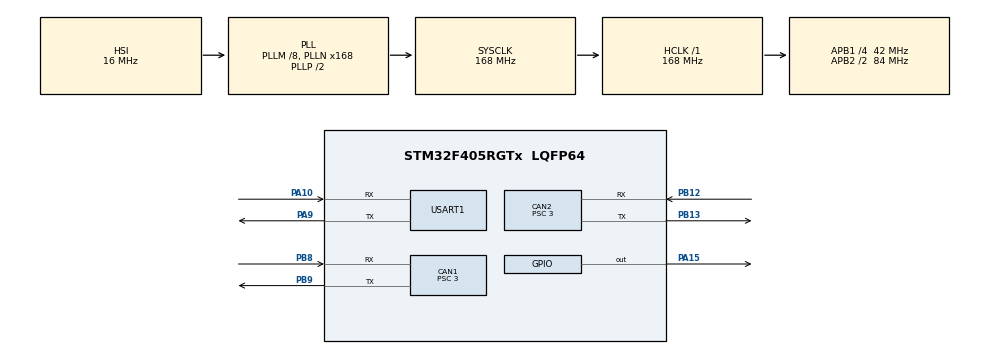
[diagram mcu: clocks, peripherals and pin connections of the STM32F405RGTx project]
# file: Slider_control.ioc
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CAN1.BS1=CAN_BS1_9TQ
CAN1.BS2=CAN_BS2_4TQ
CAN1.CalculateBaudRate=1000000
CAN1.CalculateTimeBit=1000
CAN1.CalculateTimeQuantum=71.42857142857143
CAN1.Prescaler=3
CAN2.BS1=CAN_BS1_9TQ
CAN2.BS2=CAN_BS2_4TQ
CAN2.CalculateBaudRate=1000000
CAN2.CalculateTimeBit=1000
CAN2.CalculateTimeQuantum=71.42857142857143
CAN2.Prescaler=3
Dma.Request0=USART1_RX
Dma.Request1=USART1_TX
Dma.USART1_RX.0.Direction=DMA_PERIPH_TO_MEMORY
Dma.USART1_RX.0.FIFOMode=DMA_FIFOMODE_DISABLE
Dma.USART1_RX.0.Instance=DMA2_Stream2
Dma.USART1_RX.0.MemDataAlignment=DMA_MDATAALIGN_BYTE
Dma.USART1_RX.0.MemInc=DMA_MINC_ENABLE
Dma.USART1_RX.0.Mode=DMA_NORMAL
Dma.USART1_RX.0.PeriphDataAlignment=DMA_PDATAALIGN_BYTE
Dma.USART1_RX.0.PeriphInc=DMA_PINC_DISABLE
Dma.USART1_RX.0.Priority=DMA_PRIORITY_MEDIUM
Dma.USART1_TX.1.Direction=DMA_MEMORY_TO_PERIPH
Dma.USART1_TX.1.FIFOMode=DMA_FIFOMODE_DISABLE
Dma.USART1_TX.1.Instance=DMA2_Stream7
Dma.USART1_TX.1.MemDataAlignment=DMA_MDATAALIGN_BYTE
Dma.USART1_TX.1.MemInc=DMA_MINC_ENABLE
Dma.USART1_TX.1.Mode=DMA_NORMAL
Dma.USART1_TX.1.PeriphDataAlignment=DMA_PDATAALIGN_BYTE
Dma.USART1_TX.1.PeriphInc=DMA_PINC_DISABLE
Dma.USART1_TX.1.Priority=DMA_PRIORITY_MEDIUM
FREERTOS.Tasks01=calc,1,128,slider_alc,Default,NULL,Dynamic,NULL,NULL;can_common,0,128,Can_common,Default,NULL,Dynamic,NULL,NULL
IWDG.Prescaler=IWDG_PRESCALER_32
IWDG.Reload=4000
Mcu.Family=STM32F4
Mcu.Name=STM32F405RGTx
Mcu.Package=LQFP64
NVIC.CAN1_RX0_IRQn=true\:5\:0\:false\:false\:true\:true\:true\:true\:true
NVIC.CAN1_RX1_IRQn=true\:5\:0\:false\:false\:true\:true\:true\:true\:true
NVIC.CAN1_SCE_IRQn=true\:5\:0\:false\:false\:true\:true\:true\:true\:true
NVIC.CAN1_TX_IRQn=true\:5\:0\:false\:false\:true\:true\:true\:true\:true
NVIC.CAN2_RX0_IRQn=true\:5\:0\:false\:false\:true\:true\:true\:true\:true
NVIC.CAN2_RX1_IRQn=true\:5\:0\:false\:false\:true\:true\:true\:true\:true
NVIC.CAN2_SCE_IRQn=true\:5\:0\:false\:false\:true\:true\:true\:true\:true
NVIC.CAN2_TX_IRQn=true\:5\:0\:false\:false\:true\:true\:true\:true\:true
NVIC.DMA2_Stream2_IRQn=true\:5\:0\:false\:false\:true\:true\:false\:true\:true
NVIC.DMA2_Stream7_IRQn=true\:5\:0\:false\:false\:true\:true\:false\:true\:true
NVIC.PriorityGroup=NVIC_PRIORITYGROUP_4
NVIC.TIM1_UP_TIM10_IRQn=true\:15\:0\:false\:false\:true\:false\:false\:true\:true
NVIC.TimeBase=TIM1_UP_TIM10_IRQn
NVIC.TimeBaseIP=TIM1
NVIC.USART1_IRQn=true\:5\:0\:false\:false\:true\:true\:true\:true\:true
PA10.Mode=Asynchronous
PA10.Signal=USART1_RX
PA13.Mode=Serial_Wire
PA13.Signal=SYS_JTMS-SWDIO
PA14.Mode=Serial_Wire
PA14.Signal=SYS_JTCK-SWCLK
PA15.Signal=GPIO_Output
PA9.Mode=Asynchronous
PA9.Signal=USART1_TX
PB12.Mode=CAN_Activate
PB12.Signal=CAN2_RX
PB13.Mode=CAN_Activate
PB13.Signal=CAN2_TX
PB8.Mode=CAN_Activate
PB8.Signal=CAN1_RX
PB9.Mode=CAN_Activate
PB9.Signal=CAN1_TX
PH0-OSC_IN.Mode=HSE-External-Oscillator
PH0-OSC_IN.Signal=RCC_OSC_IN
PH1-OSC_OUT.Mode=HSE-External-Oscillator
PH1-OSC_OUT.Signal=RCC_OSC_OUT
ProjectManager.HeapSize=0x200
ProjectManager.StackSize=0x400
ProjectManager.TargetToolchain=MDK-ARM V5.32
RCC.48MHZClocksFreq_Value=84000000
RCC.AHBFreq_Value=168000000
RCC.APB1CLKDivider=RCC_HCLK_DIV4
RCC.APB1Freq_Value=42000000
RCC.APB1TimFreq_Value=84000000
RCC.APB2CLKDivider=RCC_HCLK_DIV2
RCC.APB2Freq_Value=84000000
RCC.APB2TimFreq_Value=168000000
RCC.CortexFreq_Value=168000000
RCC.HCLKFreq_Value=168000000
RCC.HSE_VALUE=16000000
RCC.HSI_VALUE=16000000
RCC.LSE_VALUE=32768
RCC.PLLM=8
RCC.PLLN=168
RCC.SYSCLKFreq_VALUE=168000000
RCC.SYSCLKSource=RCC_SYSCLKSOURCE_PLLCLK
RCC.VCOOutputFreq_Value=336000000
USART1.VirtualMode=VM_ASYNC
VP_FREERTOS_VS_CMSIS_V1.Mode=CMSIS_V1
VP_IWDG_VS_IWDG.Mode=IWDG_Activate
VP_SYS_VS_tim1.Mode=TIM1
board=custom

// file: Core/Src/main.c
/* USER CODE BEGIN Header */
/**
  ******************************************************************************
  * @file           : main.c
  * @brief          : Main program body
  ******************************************************************************
  * @attention
  *
  * <h2><center>&copy; Copyright (c) 2023 STMicroelectronics.
  * All rights reserved.</center></h2>
  *
  * This software component is licensed by ST under BSD 3-Clause license,
  * the "License"; You may not use this file except in compliance with the
  * License. You may obtain a copy of the License at:
  *                        opensource.org/licenses/BSD-3-Clause
  *
  ******************************************************************************
  */
/* USER CODE END Header */
#include "main.h"
#include "cmsis_os.h"
#include "can.h"
#include "dma.h"
#include "iwdg.h"
#include "usart.h"
#include "gpio.h"

/* USER CODE BEGIN Includes */
#include "can_comm.h"
/* USER CODE END Includes */

void SystemClock_Config(void);
void MX_FREERTOS_Init(void);

int main(void)
{

  /* MCU Configuration--------------------------------------------------------*/

  /* Reset of all peripherals, Initializes the Flash interface and the Systick. */
  HAL_Init();

  /* Configure the system clock */
  SystemClock_Config();

  /* Initialize all configured peripherals */
  MX_GPIO_Init();
  MX_DMA_Init();
  MX_CAN1_Init();
  MX_CAN2_Init();
  MX_USART1_UART_Init();
  MX_IWDG_Init();
  /* USER CODE BEGIN 2 */
	can_device_init();
	Fric_init();
  /* USER CODE END 2 */

  /* Call init function for freertos objects (in freertos.c) */
  MX_FREERTOS_Init();

  /* Start scheduler */
  osKernelStart();

  /* We should never get here as control is now taken by the scheduler */
  /* Infinite loop */
  while (1)
  {

  }
}

void SystemClock_Config(void)
{
  RCC_OscInitTypeDef RCC_OscInitStruct = {0};
  RCC_ClkInitTypeDef RCC_ClkInitStruct = {0};

  /** Configure the main internal regulator output voltage
  */
  __HAL_RCC_PWR_CLK_ENABLE();
  __HAL_PWR_VOLTAGESCALING_CONFIG(PWR_REGULATOR_VOLTAGE_SCALE1);

  /** Initializes the RCC Oscillators according to the specified parameters
  * in the RCC_OscInitTypeDef structure.
  */
  RCC_OscInitStruct.OscillatorType = RCC_OSCILLATORTYPE_HSI|RCC_OSCILLATORTYPE_LSI;
  RCC_OscInitStruct.HSIState = RCC_HSI_ON;
  RCC_OscInitStruct.HSICalibrationValue = RCC_HSICALIBRATION_DEFAULT;
  RCC_OscInitStruct.LSIState = RCC_LSI_ON;
  RCC_OscInitStruct.PLL.PLLState = RCC_PLL_ON;
  RCC_OscInitStruct.PLL.PLLSource = RCC_PLLSOURCE_HSI;
  RCC_OscInitStruct.PLL.PLLM = 8;
  RCC_OscInitStruct.PLL.PLLN = 168;
  RCC_OscInitStruct.PLL.PLLP = RCC_PLLP_DIV2;
  RCC_OscInitStruct.PLL.PLLQ = 4;
  if (HAL_RCC_OscConfig(&RCC_OscInitStruct) != HAL_OK)
  {
    Error_Handler();
  }

  /** Initializes the CPU, AHB and APB buses clocks
  */
  RCC_ClkInitStruct.ClockType = RCC_CLOCKTYPE_HCLK|RCC_CLOCKTYPE_SYSCLK
                              |RCC_CLOCKTYPE_PCLK1|RCC_CLOCKTYPE_PCLK2;
  RCC_ClkInitStruct.SYSCLKSource = RCC_SYSCLKSOURCE_PLLCLK;
  RCC_ClkInitStruct.AHBCLKDivider = RCC_SYSCLK_DIV1;
  RCC_ClkInitStruct.APB1CLKDivider = RCC_HCLK_DIV4;
  RCC_ClkInitStruct.APB2CLKDivider = RCC_HCLK_DIV2;

  if (HAL_RCC_ClockConfig(&RCC_ClkInitStruct, FLASH_LATENCY_5) != HAL_OK)
  {
    Error_Handler();
  }
}

void HAL_TIM_PeriodElapsedCallback(TIM_HandleTypeDef *htim)
{
  if (htim->Instance == TIM1) {
    HAL_IncTick();
  }
}

void Error_Handler(void)
{
  __disable_irq();
  while (1)
  {
  }
}

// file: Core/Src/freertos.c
/* USER CODE BEGIN Header */
/**
  ******************************************************************************
  * File Name          : freertos.c
  * Description        : Code for freertos applications
  ******************************************************************************
  * @attention
  *
  * Copyright (c) 2023 STMicroelectronics.
  * All rights reserved.
  *
  * This software is licensed under terms that can be found in the LICENSE file
  * in the root directory of this software component.
  * If no LICENSE file comes with this software, it is provided AS-IS.
  *
  ******************************************************************************
  */
/* USER CODE END Header */

#include "FreeRTOS.h"
#include "task.h"
#include "main.h"
#include "cmsis_os.h"

/* USER CODE BEGIN Includes */
#include "main.h"
#include "cmsis_os.h"
#include "can.h"
#include "dma.h"
#include "iwdg.h"
#include "usart.h"
#include "gpio.h"
#include "can_comm.h"
/* USER CODE END Includes */

osThreadId calcHandle;
osThreadId can_commonHandle;

void slider_alc(void const * argument);
void Can_common(void const * argument);

void MX_FREERTOS_Init(void); /* (MISRA C 2004 rule 8.1) */

/* GetIdleTaskMemory prototype (linked to static allocation support) */
void vApplicationGetIdleTaskMemory( StaticTask_t **ppxIdleTaskTCBBuffer, StackType_t **ppxIdleTaskStackBuffer, uint32_t *pulIdleTaskStackSize );

/* USER CODE BEGIN GET_IDLE_TASK_MEMORY */
static StaticTask_t xIdleTaskTCBBuffer;
static StackType_t xIdleStack[configMINIMAL_STACK_SIZE];

void vApplicationGetIdleTaskMemory( StaticTask_t **ppxIdleTaskTCBBuffer, StackType_t **ppxIdleTaskStackBuffer, uint32_t *pulIdleTaskStackSize )
{
  *ppxIdleTaskTCBBuffer = &xIdleTaskTCBBuffer;
  *ppxIdleTaskStackBuffer = &xIdleStack[0];
  *pulIdleTaskStackSize = configMINIMAL_STACK_SIZE;
  /* place for user code */
}
/* USER CODE END GET_IDLE_TASK_MEMORY */

void MX_FREERTOS_Init(void) {

  /* Create the thread(s) */
  /* definition and creation of calc */
  osThreadDef(calc, slider_alc, osPriorityAboveNormal, 0, 128);
  calcHandle = osThreadCreate(osThread(calc), NULL);

  /* definition and creation of can_common */
  osThreadDef(can_common, Can_common, osPriorityHigh, 0, 128);
  can_commonHandle = osThreadCreate(osThread(can_common), NULL);

}

void slider_alc(void const * argument)
{
  /* USER CODE BEGIN slider_alc */
  /* Infinite loop */
  for(;;)
  {
		taskENTER_CRITICAL();
		Fric_control();
		taskEXIT_CRITICAL();
    osDelay(2);
  }
  /* USER CODE END slider_alc */
}

void Can_common(void const * argument)
{
  /* USER CODE BEGIN Can_common */
  /* Infinite loop */
  for(;;)
  {
			taskENTER_CRITICAL();
//		mode_check();
		can_out();
		taskEXIT_CRITICAL();
    osDelay(2);
  }
  /* USER CODE END Can_common */
}
